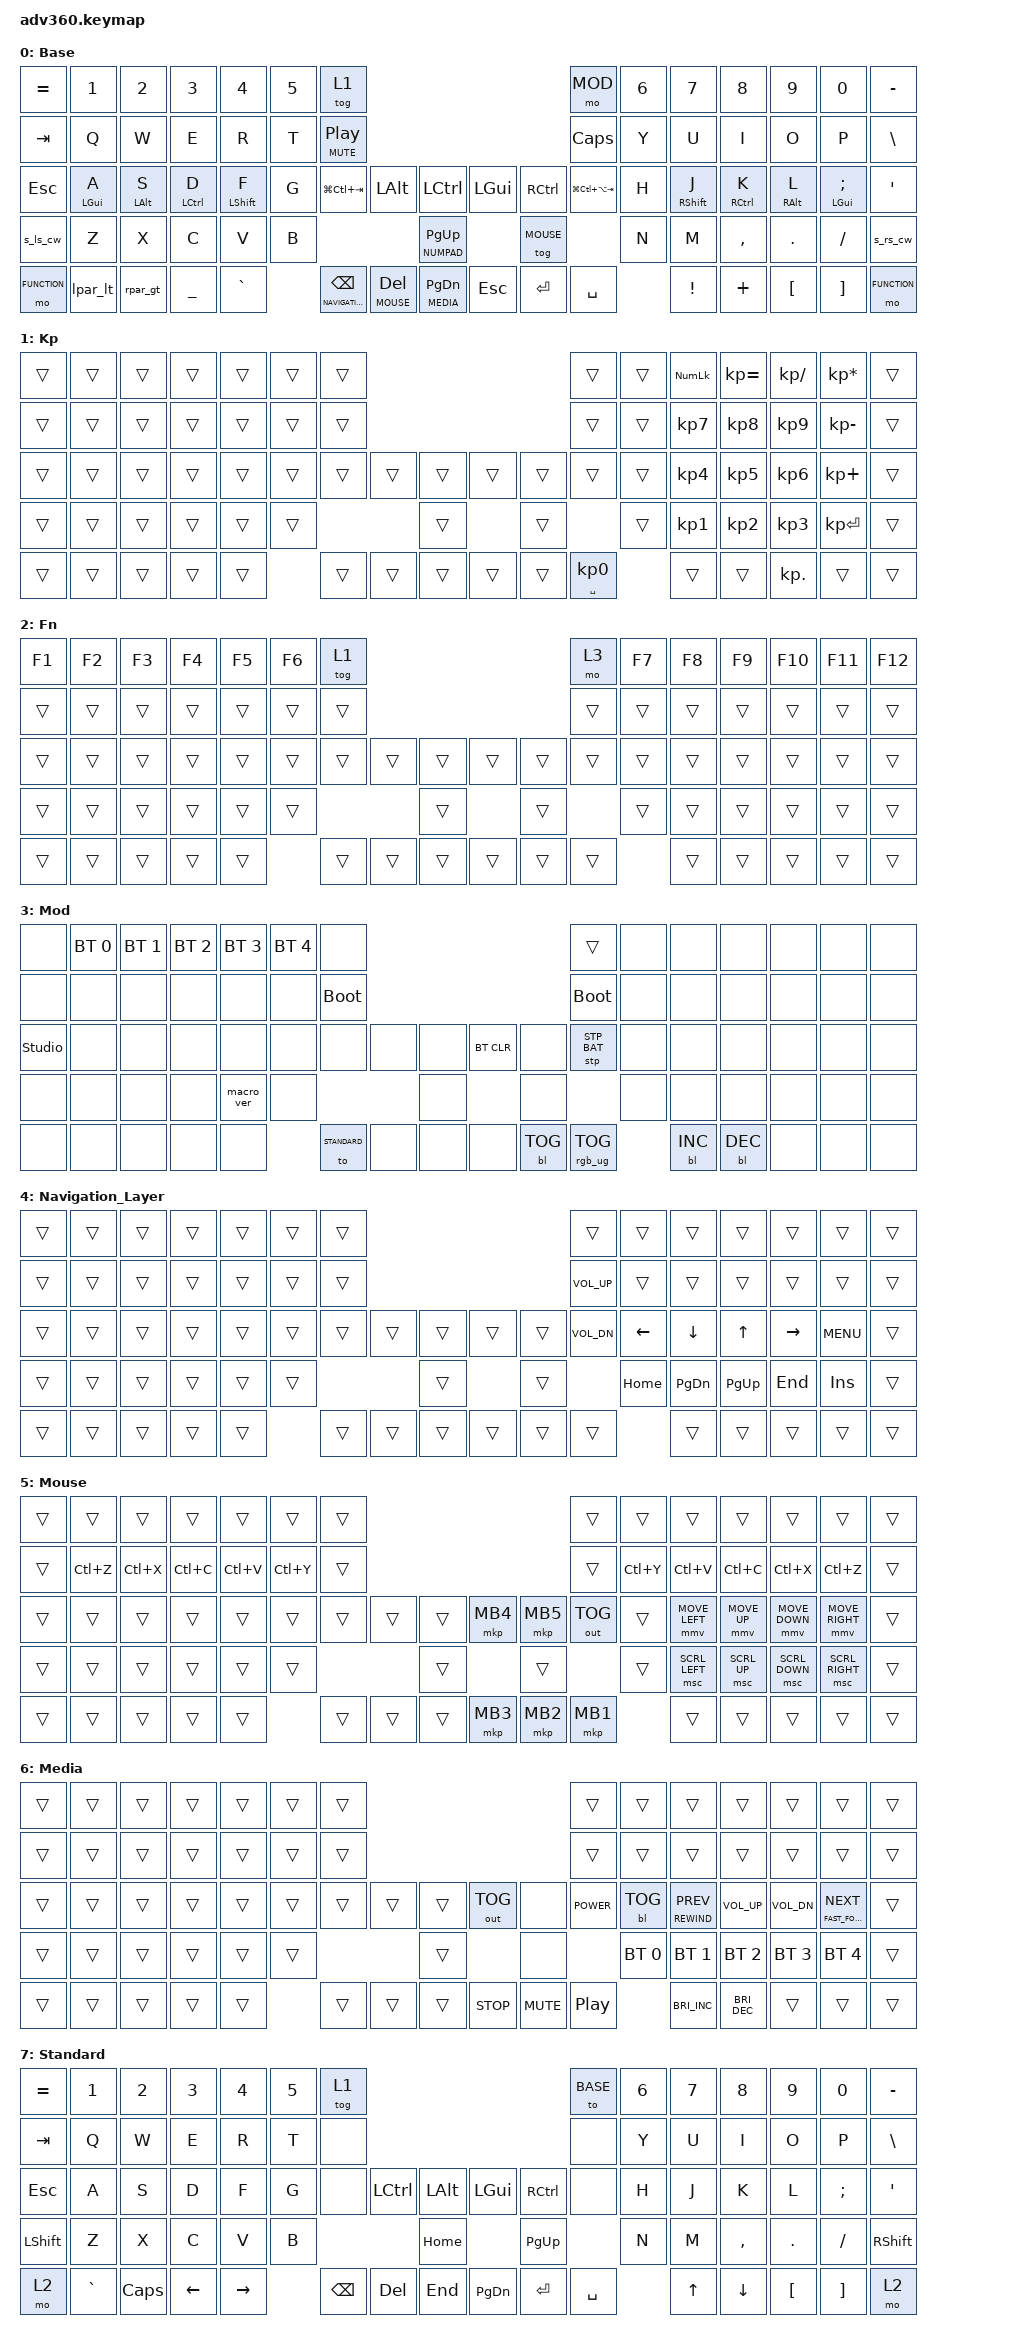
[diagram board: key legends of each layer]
#include <dt-bindings/zmk/stp.h>

#define ZMK_POINTING_DEFAULT_MOVE_VAL 600  // default: 600
#define ZMK_POINTING_DEFAULT_SCRL_VAL 10    // default: 10
#define KEYS_L 0 1 2 3 4 5 6 14 15 16 17 18 19 20 28 29 30 31 32 33 34 46 47 48 49 50 51 60 61 62 63 64
#define THUMBS_LEFT 35 36 52 65 66 67
#define KEYS_R 7 8 9 10 11 12 13 21 22 23 24 25 26 27 39 40 41 42 43 44 45 54 55 56 57 58 59 71 72 73 74 75
#define THUMBS_RIGHT 37 38 53 68 69 70
#define HM_TAPPING_TERM 280
#define HM_PRIOR_IDLE 150
#define HM_QUICK_TAP 175

#define BASE 0
#define NUMPAD 1
#define FUNCTION 2
#define MOD 3
#define NAVIGATION 4
#define MOUSE 5
#define MEDIA 6
#define STANDARD 7

#include <behaviors.dtsi>
#include <dt-bindings/zmk/backlight.h>
#include <dt-bindings/zmk/bt.h>
#include <dt-bindings/zmk/keys.h>
#include <dt-bindings/zmk/outputs.h>
#include <dt-bindings/zmk/pointing.h>
#include <dt-bindings/zmk/rgb.h>

&gresc { keep-mods = <(MOD_RGUI|MOD_RSFT|MOD_LGUI|MOD_LSFT)>; };
&gresc { mods = <(MOD_LGUI|MOD_RGUI)>; };

/ {
    behaviors {
        #include "macros.dtsi"
        #include "version.dtsi"

        hm_l: homerow_mods_left {
            compatible = "zmk,behavior-hold-tap";
            #binding-cells = <2>;
            tapping-term-ms = <HM_TAPPING_TERM>;
            flavor = "balanced";
            bindings = <&kp>, <&kp>;
            quick-tap-ms = <HM_QUICK_TAP>;
            require-prior-idle-ms = <HM_PRIOR_IDLE>;
            hold-trigger-on-release;
            hold-trigger-key-positions = <KEYS_R THUMBS_RIGHT>;
        };

        hm_r: homerow_mod_right {
            compatible = "zmk,behavior-hold-tap";
            bindings = <&kp>, <&kp>;
            #binding-cells = <2>;
            tapping-term-ms = <HM_TAPPING_TERM>;
            quick-tap-ms = <HM_QUICK_TAP>;
            require-prior-idle-ms = <HM_PRIOR_IDLE>;
            flavor = "balanced";
            hold-trigger-key-positions = <KEYS_L THUMBS_LEFT>;
            hold-trigger-on-release;
        };

        s_ls_cw: lshift_capsword {
            compatible = "zmk,behavior-mod-morph";
            #binding-cells = <0>;
            bindings = <&skq LSFT>, <&caps_word>;
            mods = <(MOD_LSFT)>;
            keep-mods = <(MOD_LSFT)>;
        };

        s_rs_cw: rshift_capsword {
            compatible = "zmk,behavior-mod-morph";
            #binding-cells = <0>;
            bindings = <&skq RSFT>, <&caps_word>;
            mods = <(MOD_RSFT)>;
            keep-mods = <(MOD_RSFT)>;
        };

        ht_cw: ht_cw {
            compatible = "zmk,behavior-hold-tap";
            #binding-cells = <2>;
            flavor = "hold-preferred";
            tapping-term-ms = <50>;
            bindings = <&kp>, <&caps_word>;
            display-name = "Hold-Tap-Caps-Word";
            hold-while-undecided;
        };

        td_c_cw_ls: td_c_cw_ls {
            compatible = "zmk,behavior-tap-dance";
            #binding-cells = <0>;
            tapping-term-ms = <150>;
            bindings =
                <&skq LSHIFT>,
                <&ht_cw LSHIFT 0>,
                <&mt LSHIFT CAPSLOCK>;
        };

        td_c_cw_rs: td_c_cw_rs {
            compatible = "zmk,behavior-tap-dance";
            #binding-cells = <0>;
            tapping-term-ms = <150>;
            bindings =
                <&skq RSHIFT>,
                <&ht_cw RSHIFT 0>,
                <&mt RSHIFT CAPSLOCK>;
        };

        ht_wqt: ht_wqt {
            compatible = "zmk,behavior-hold-tap";
            #binding-cells = <2>;
            tapping-term-ms = <200>;
            quick-tap-ms = <150>;
            bindings = <&kp>, <&kp>;
            display-name = "Hold-Tap-Quick-Tap";
        };

        lt_wqt: lt_wqt {
            compatible = "zmk,behavior-hold-tap";
            #binding-cells = <2>;
            tapping-term-ms = <200>;
            flavor = "balanced";
            quick-tap-ms = <150>;
            bindings = <&mo>, <&kp>;
            display-name = "Layer-Tap-Quick-Tap";
        };

        ht: ht {
            compatible = "zmk,behavior-hold-tap";
            #binding-cells = <2>;
            tapping-term-ms = <200>;
            bindings = <&kp>, <&kp>;
            display-name = "Hold-Tap";
        };

        skq: sticky_key_quick_release {
            compatible = "zmk,behavior-sticky-key";
            #binding-cells = <1>;
            bindings = <&kp>;
            release-after-ms = <1000>;
            quick-release;
            ignore-modifiers;
        };

        lpar_lt: left_parenthesis_less_than {
            compatible  = "zmk,behavior-mod-morph";
            #binding-cells = <0>;
            bindings = <&kp LPAR>, <&kp LT>;
            mods = <(MOD_LSFT|MOD_RSFT)>;
        };

        rpar_gt: right_parenthesis_greater_than {
            compatible  = "zmk,behavior-mod-morph";
            #binding-cells = <0>;
            bindings = <&kp RPAR>, <&kp GT>;
            mods = <(MOD_LSFT|MOD_RSFT)>;
        };
    };

    macros {
        clear_line: clear_line {
            compatible = "zmk,behavior-macro";
            #binding-cells = <0>;
            bindings = <&kp LC(LS(K)) &kp LS(LC(ENTER))>;
        };

        right_arrow: right_arrow {
            compatible = "zmk,behavior-macro";
            #binding-cells = <0>;
            bindings = 
                <&macro_press &kp LSHFT &kp LCTRL>,
                <&macro_tap &kp U>,
                <&macro_release &kp LSHFT &kp LCTRL>,
                <&macro_tap &kp N2 &kp N1 &kp N9 &kp N2 &kp SPACE>;
        };

        left_arrow: left_arrow {
            compatible = "zmk,behavior-macro";
            #binding-cells = <0>;
            bindings = 
                <&macro_press &kp LSHFT &kp LCTRL>,
                <&macro_tap &kp U>,
                <&macro_release &kp LSHFT &kp LCTRL>,
                <&macro_tap &kp N2 &kp N1 &kp N9 &kp N0 &kp SPACE>;
        };

    };

    combos {
      compatible = "zmk,combos";

      combo_last_workspace {
        timeout-ms = <50>;
        key-positions = <55 56>;
        bindings = <&kp LG(LC(TAB))>;
      };

      combo_next_monitor {
        timeout-ms = <50>;
        key-positions = <55 56 57>;
        bindings = <&kp LG(LC(LA(TAB)))>;
      };
    };

    keymap {
        compatible = "zmk,keymap";
// 0
        default_layer {
            display-name = "Base";
            bindings = <
&kp EQUAL       &kp N1        &kp N2        &kp N3         &kp N4           &kp N5  &tog 1                                                                                     &mo MOD              &kp N6 &kp N7         &kp N8        &kp N9        &kp N0           &kp MINUS
&kp TAB         &kp Q         &kp W         &kp E          &kp R            &kp T   &ht C_MUTE C_PLAY_PAUSE                                                                    &kp CAPS             &kp Y  &kp U          &kp I         &kp O         &kp P            &kp BSLH
&kp ESC         &hm_l LGUI A  &hm_l LALT S  &hm_l LCTRL D  &hm_l LSHIFT F   &kp G   &kp LG(LC(TAB))             &kp LALT          &kp LCTRL               &kp LGUI  &kp RCTRL  &kp LG(LC(LA(TAB)))  &kp H  &hm_r RSHFT J  &hm_r RCTRL K &hm_r RALT L  &hm_r LGUI SEMI  &kp SQT
&s_ls_cw        &kp Z         &kp X         &kp C          &kp V            &kp B                                                 &lt_wqt NUMPAD PAGE_UP            &tog MOUSE                      &kp N  &kp M          &kp COMMA     &kp DOT       &kp FSLH         &s_rs_cw
&mo FUNCTION    &lpar_lt      &rpar_gt      &kp UNDERSCORE &kp GRAVE                &lt_wqt NAVIGATION BSPC     &lt_wqt MOUSE DEL &lt_wqt MEDIA PAGE_DOWN &kp ESC   &kp ENTER  &kp SPACE                   &kp EXCL       &kp PLUS      &kp LBKT      &kp RBKT         &mo FUNCTION
            >;
        }; 
// 1
        keypad {
            display-name = "Kp";
            bindings = <        
&trans  &trans  &trans  &trans  &trans  &trans  &trans                                      &trans     &trans       &kp KP_NUM  &kp KP_EQUAL  &kp KP_DIVIDE  &kp KP_MULTIPLY  &trans
&trans  &trans  &trans  &trans  &trans  &trans  &trans                                      &trans     &trans       &kp KP_N7   &kp KP_N8     &kp KP_N9      &kp KP_MINUS     &trans
&trans  &trans  &trans  &trans  &trans  &trans  &trans  &trans  &trans      &trans  &trans  &trans     &trans       &kp KP_N4   &kp KP_N5     &kp KP_N6      &kp KP_PLUS      &trans
&trans  &trans  &trans  &trans  &trans  &trans                  &trans      &trans                     &trans       &kp KP_N1   &kp KP_N2     &kp KP_N3      &kp KP_ENTER     &trans
&trans  &trans  &trans  &trans  &trans          &trans  &trans  &trans      &trans  &trans  &ht_wqt SPACE KP_N0     &trans      &trans        &kp KP_DOT     &trans           &trans
            >;
        };
// 2 
        fn {
            display-name = "Fn";
            bindings = <
&kp F1  &kp F2  &kp F3  &kp F4  &kp F5  &kp F6  &tog 1                                      &mo 3   &kp F7  &kp F8  &kp F9  &kp F10  &kp F11  &kp F12
&trans  &trans  &trans  &trans  &trans  &trans  &trans                                      &trans  &trans  &trans  &trans  &trans   &trans   &trans
&trans  &trans  &trans  &trans  &trans  &trans  &trans  &trans  &trans      &trans  &trans  &trans  &trans  &trans  &trans  &trans   &trans   &trans
&trans  &trans  &trans  &trans  &trans  &trans                  &trans      &trans                  &trans  &trans  &trans  &trans   &trans   &trans
&trans  &trans  &trans  &trans  &trans          &trans  &trans  &trans      &trans  &trans  &trans          &trans  &trans  &trans   &trans   &trans
            >;
        };
// 3
        mod {
            display-name = "Mod";
            bindings = <
&none           &bt BT_SEL 0  &bt BT_SEL 1  &bt BT_SEL 2  &bt BT_SEL 3  &bt BT_SEL 4  &none                                                   &trans           &none  &none       &none       &none  &none  &none
&none           &none         &none         &none         &none         &none         &bootloader                                             &bootloader      &none  &none       &none       &none  &none  &none
&studio_unlock  &none         &none         &none         &none         &none         &none         &none  &none      &bt BT_CLR  &none       &stp STP_BAT     &none  &none       &none       &none  &none  &none
&none           &none         &none         &none         &macro_ver    &none                              &none      &none                                    &none  &none       &none       &none  &none  &none
&none           &none         &none         &none         &none                       &to  STANDARD &none  &none      &none       &bl BL_TOG  &rgb_ug RGB_TOG         &bl BL_INC  &bl BL_DEC  &none  &none  &none
            >;
        };
// 4
        Navigation_Layer {
        bindings = <
&trans  &trans  &trans  &trans  &trans  &trans  &trans                                      &trans          &trans    &trans        &trans        &trans           &trans       &trans
&trans  &trans  &trans  &trans  &trans  &trans  &trans                                      &kp C_VOL_UP    &trans    &trans        &trans        &trans           &trans       &trans
&trans  &trans  &trans  &trans  &trans  &trans  &trans  &trans  &trans      &trans  &trans  &kp C_VOL_DN    &kp LEFT  &kp DOWN      &kp UP        &kp RIGHT        &kp C_MENU   &trans
&trans  &trans  &trans  &trans  &trans  &trans                  &trans      &trans                          &kp HOME  &kp PAGE_DOWN &kp PAGE_UP   &kp END          &kp INS      &trans
&trans  &trans  &trans  &trans  &trans          &trans  &trans  &trans      &trans  &trans  &trans                    &trans        &trans        &trans           &trans       &trans
            >;
        };
// 5 
        Mouse {
            bindings = <
&trans  &trans      &trans      &trans      &trans    &trans    &trans                                          &trans          &trans          &trans          &trans          &trans          &trans          &trans
&trans  &kp LC(Z)   &kp LC(X)   &kp LC(C)   &kp LC(V) &kp LC(Y) &trans                                          &trans          &kp LC(Y)       &kp LC(V)       &kp LC(C)       &kp LC(X)       &kp LC(Z)       &trans
&trans  &trans      &trans      &trans      &trans    &trans    &trans  &trans  &trans      &mkp MB4  &mkp MB5  &out OUT_TOG    &trans          &mmv MOVE_LEFT  &mmv MOVE_UP    &mmv MOVE_DOWN  &mmv MOVE_RIGHT &trans
&trans  &trans      &trans      &trans      &trans    &trans                    &trans      &trans                              &trans          &msc SCRL_LEFT  &msc SCRL_UP    &msc SCRL_DOWN  &msc SCRL_RIGHT &trans
&trans  &trans      &trans      &trans      &trans              &trans  &trans  &trans      &mkp MB3  &mkp MB2  &mkp MB1                        &trans          &trans          &trans          &trans          &trans
            >;
        };
// 6
        Media {
            bindings = <
&trans  &trans  &trans  &trans  &trans  &trans  &trans                                                &trans            &trans        &trans                &trans                &trans        &trans                    &trans
&trans  &trans  &trans  &trans  &trans  &trans  &trans                                                &trans            &trans        &trans                &trans                &trans        &trans                    &trans
&trans  &trans  &trans  &trans  &trans  &trans  &trans  &trans  &trans      &out OUT_TOG  &none       &kp C_POWER       &bl BL_TOG    &ht C_REWIND C_PREV   &kp C_VOL_UP          &kp C_VOL_DN  &ht C_FAST_FORWARD C_NEXT &trans
&trans  &trans  &trans  &trans  &trans  &trans                  &trans      &none                                       &bt BT_SEL 0  &bt BT_SEL 1          &bt BT_SEL 2          &bt BT_SEL 3  &bt BT_SEL 4              &trans
&trans  &trans  &trans  &trans  &trans          &trans  &trans  &trans      &kp C_STOP    &kp C_MUTE  &kp C_PLAY_PAUSE                &kp C_BRIGHTNESS_INC  &kp C_BRIGHTNESS_DEC  &trans        &trans                    &trans
            >;
        };
// 7
        standard_layer {
            display-name = "Standard";
            bindings = <
&kp EQUAL &kp N1    &kp N2   &kp N3   &kp N4     &kp N5 &tog 1                                                           &to BASE &kp N6 &kp N7 &kp N8    &kp N9   &kp N0   &kp MINUS
&kp TAB   &kp Q     &kp W    &kp E    &kp R      &kp T  &none                                                            &none  &kp Y  &kp U  &kp I     &kp O    &kp P    &kp BSLH
&kp ESC   &kp A     &kp S    &kp D    &kp F      &kp G  &none           &kp LCTRL &kp LALT &kp LGUI  &kp RCTRL           &none  &kp H  &kp J  &kp K     &kp L    &kp SEMI &kp SQT
&kp LSHFT &kp Z     &kp X    &kp C    &kp V      &kp B                            &kp HOME &kp PG_UP                            &kp N  &kp M  &kp COMMA &kp DOT  &kp FSLH &kp RSHFT
&mo 2     &kp GRAVE &kp CAPS &kp LEFT &kp RIGHT                &kp BSPC &kp DEL   &kp END  &kp PG_DN &kp ENTER &kp SPACE               &kp UP &kp DOWN  &kp LBKT &kp RBKT &mo 2
      >;
    };
  };
};

